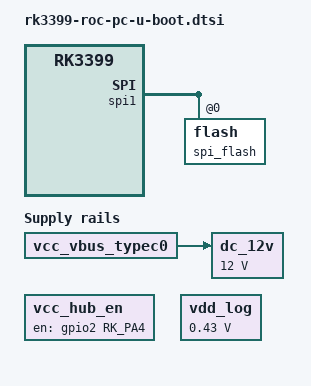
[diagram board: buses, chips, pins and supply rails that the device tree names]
// SPDX-License-Identifier: GPL-2.0+
/*
 * Copyright (C) 2019 Levin Du <djw@t-chip.com.cn>
 */

#include "rk3399-u-boot.dtsi"
#include "rk3399-sdram-lpddr4-100.dtsi"

/ {
	chosen {
		u-boot,spl-boot-order = "same-as-spl", &spi_flash, &sdhci, &sdmmc;
	};

	vcc_hub_en: vcc_hub_en-regulator {
		compatible = "regulator-fixed";
		enable-active-high;
		gpio = <&gpio2 RK_PA4 GPIO_ACTIVE_HIGH>;
		pinctrl-names = "default";
		pinctrl-0 = <&hub_rst>;
		regulator-name = "vcc_hub_en";
		regulator-always-on;
	};
};

/*
 * should be placed inside mp8859, but not until mp8859 has
 * its own dt-binding.
 */
&dc_12v {
	compatible = "regulator-fixed";
	regulator-name = "dc_12v";
	regulator-always-on;
	regulator-boot-on;
	regulator-min-microvolt = <12000000>;
	regulator-max-microvolt = <12000000>;
	vin-supply = <&vcc_vbus_typec0>;
};

&spi1 {
	spi_flash: flash@0 {
		bootph-all;
	};
};

&vdd_log {
	regulator-min-microvolt = <430000>;
	regulator-init-microvolt = <950000>;
};

&vcc5v0_host {
	regulator-always-on;
};

&vcc_sys {
	regulator-always-on;
};

&vcc_sdio {
	regulator-always-on;
};
